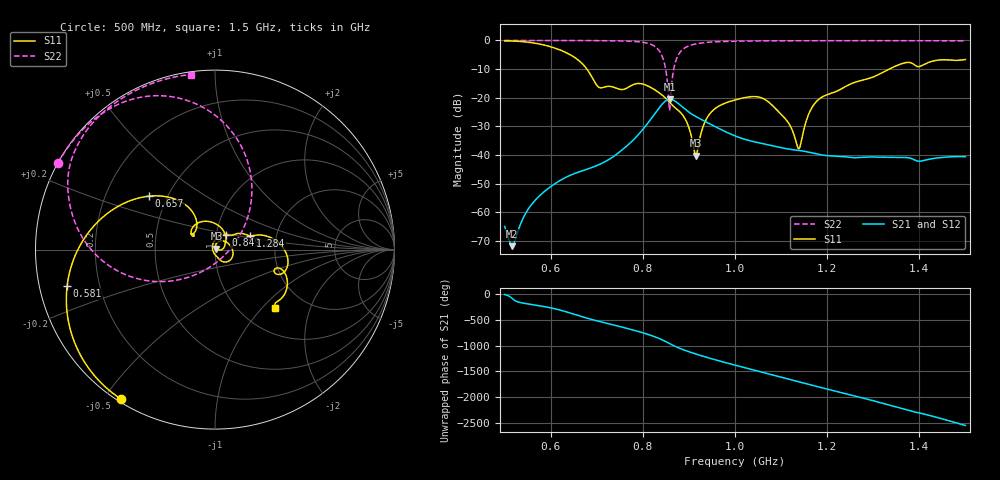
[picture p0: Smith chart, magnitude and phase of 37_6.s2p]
! TOUCHSTONE file generated by CST MICROWAVE STUDIO
! Date and time: Sat Oct 24 11:49:49 2020
! Project name: Scenario_1_Circular_Tissue_out_of_Line.cst
! Parameters = {dy1=278.276; L_HA=400; MT=2.54; Rad_Dielectric=30; Rad_Lower=7.3; Rad_Upper=30; a_HA=580; a_WG=246; b_HA=500; b_WG=121; c_HA=0; c_WG=187; d_feed=85; dx1=1039; h_feed=15; h_lower=18; h_upper=40}
! Header version: 2018
! Port assignment regex: !\s*Touchstone port\s*([0-9]+)\s*=\s*(CST MWS port|CST DS port)\s*([0-9]+|Zmin|Zmax)\s*\(\"(.*)\"\)(\s*mode\s*([0-9]+))?.*
! Touchstone port assignment:
! Touchstone port 1 = CST MWS port 1 ("")
! Touchstone port 2 = CST MWS port 2 ("")
# GHz S DB R 50
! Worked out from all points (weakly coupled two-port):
!   1001 points, 500 MHz to 1.5 GHz, reference 50 ohm
!   highest |S21| = -20.53 dB at 859 MHz (marker M1); lowest = -71.8 dB at 516 MHz (marker M2)
!   lowest |S11| = -40.2 dB at 915 MHz (marker M3), VSWR 1.02, Z = 50.8 + j0.596 ohm
!   |S11| at or under -10 dB: 678.6 MHz to 1.335 GHz (656.1 MHz wide, 65.2 % of centre)
!   |S22| runs from -24.5 to 0.0 dB; largest |S21 - S12| = 1.9e-05
!   S11 on the Smith chart (normalised r, x): 500 MHz: 0.01, -0.55; 581 MHz: 0.08, -0.12; 657 MHz: 0.40, +0.30; 849 MHz: 1.11, +0.18; 1.284 GHz: 1.46, +0.23; 1.5 GHz: 1.42, -1.18
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0.5  -0.14 -122.3  -64.92 -15.7  -64.92 -15.7  -0.01 151.1
0.516  -0.20 -129.9  -71.80 -87.8  -71.81 -87.5  -0.01 150.1
0.547  -0.54 -146.1  -59.97 167.8  -59.98 167.8  -0.01 148.0
0.581  -1.43 -166.2  -53.45 119.9  -53.46 119.9  -0.02 145.5
0.657  -6.50 141.0  -46.12 -52.8  -46.12 -52.8  -0.04 139.3
0.667  -7.87 133.1  -45.58 -80.3  -45.58 -80.3  -0.04 138.4
0.706  -16.45 136.3  -43.26 -175.4  -43.26 -175.4  -0.07 134.1
0.787  -15.07 132.9  -33.46 -0.1  -33.46 -0.1  -0.42 118.0
0.834  -18.10 73.2  -23.83 -138.5  -23.83 -138.5  -3.27 84.0
0.849  -20.08 53.6  -21.14 159.7  -21.14 159.7  -9.62 52.6
0.859  -21.78 41.7  -20.53 113.7  -20.53 113.7  -23.21 -79.8
0.877  -24.40 24.1  -22.02 37.7  -22.02 37.7  -5.07 -167.9
0.915  -40.16 36.7  -26.55 -83.2  -26.55 -83.2  -1.23 160.0
0.945  -25.66 62.6  -29.09 -163.6  -29.10 -163.6  -0.60 150.3
1  -20.77 9.1  -33.31 62.6  -33.31 62.6  -0.28 140.3
1.07  -21.15 -52.4  -36.35 -101.3  -36.35 -101.3  -0.15 132.5
1.115  -28.55 -77.9  -37.88 155.3  -37.88 155.3  -0.11 128.4
1.138  -37.84 -162.1  -38.39 102.9  -38.39 102.9  -0.11 126.5
1.167  -23.42 79.3  -39.26 35.0  -39.26 35.0  -0.10 124.2
1.284  -13.59 21.6  -40.71 133.7  -40.71 133.7  -0.08 115.3
1.334  -10.05 12.6  -40.84 15.8  -40.84 15.8  -0.09 111.5
1.5  -6.66 -44.4  -40.57 -21.0  -40.57 -21.0  -0.13 97.9
